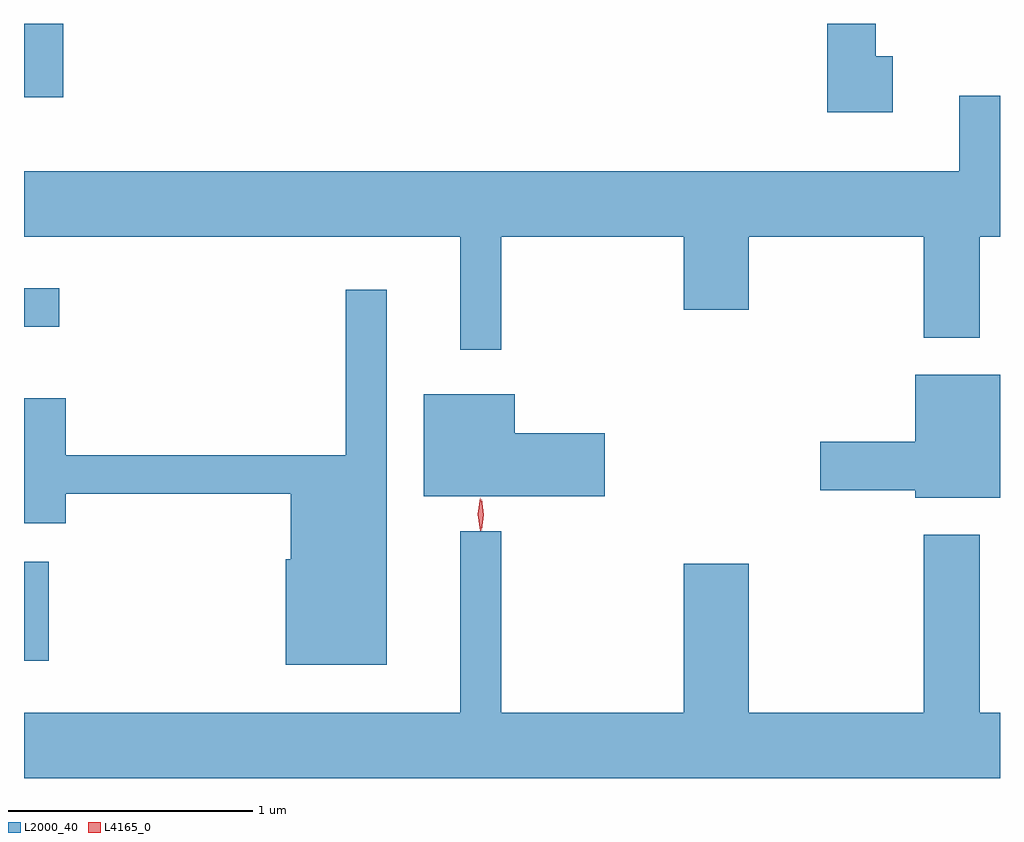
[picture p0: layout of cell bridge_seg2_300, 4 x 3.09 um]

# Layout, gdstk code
import gdstk
lib = gdstk.Library(unit=1e-6, precision=1e-09)
def R(c, l, rs):  # rectangles x0, y0, x1, y1
    for r in rs: c.add(gdstk.rectangle(r[:2], r[2:], *l))
def P(c, l, *ps):  # polygons
    for p in ps: c.add(gdstk.Polygon(p, *l))
L2000_40 = (2000, 40)
L4165_0 = (4165, 0)

bridge_seg2_300 = lib.new_cell('bridge_seg2_300')
R(bridge_seg2_300, L2000_40, [(432.153,1062.118,432.254,1062.524), (432.153,1063.486,432.298,1063.644), (432.153,1064.426,432.314,1064.728)])
P(bridge_seg2_300, L2000_40, [(435.714,1064.594),(435.644,1064.594),(435.644,1064.728),(435.446,1064.728),(435.446,1064.366),(435.714,1064.366)],
  [(434.109,1063.856),(434.856,1063.856),(434.856,1063.556),(435.124,1063.556),(435.124,1063.856),(435.841,1063.856),(435.841,1063.441),(436.069,1063.441),(436.069,1063.856),(436.153,1063.856),(436.153,1064.434),(435.986,1064.434),(435.986,1064.124),(432.153,1064.124),(432.153,1063.856),(433.941,1063.856),(433.941,1063.393),(434.109,1063.393)],
  [(433.639,1063.638),(433.471,1063.638),(433.471,1062.959),(432.324,1062.959),(432.324,1063.194),(432.153,1063.194),(432.153,1062.681),(432.324,1062.681),(432.324,1062.801),(433.246,1062.801),(433.246,1062.534),(433.226,1062.534),(433.226,1062.101),(433.639,1062.101)],
  [(436.153,1063.289),(435.806,1063.289),(435.806,1063.014),(435.416,1063.014),(435.416,1062.816),(435.806,1062.816),(435.806,1062.786),(436.153,1062.786)],
  [(434.534,1063.049),(434.164,1063.049),(434.164,1063.209),(433.791,1063.209),(433.791,1062.791),(434.534,1062.791)],
  [(436.153,1061.904),(436.069,1061.904),(436.069,1062.634),(435.841,1062.634),(435.841,1061.904),(435.124,1061.904),(435.124,1062.514),(434.856,1062.514),(434.856,1061.904),(434.109,1061.904),(434.109,1062.648),(433.941,1062.648),(433.941,1061.904),(432.153,1061.904),(432.153,1061.636),(436.153,1061.636)])
P(bridge_seg2_300, L4165_0, [(434.023,1062.65),(434.023,1062.65),(434.013,1062.718),(434.022,1062.785),(434.022,1062.786),(434.023,1062.785),(434.033,1062.718),(434.024,1062.65)],
  [(434.028,1062.653),(434.028,1062.654),(434.018,1062.716),(434.028,1062.78),(434.028,1062.78),(434.029,1062.78),(434.038,1062.716),(434.029,1062.654)])

lib.write_gds('bridge_seg2_300.gds')
